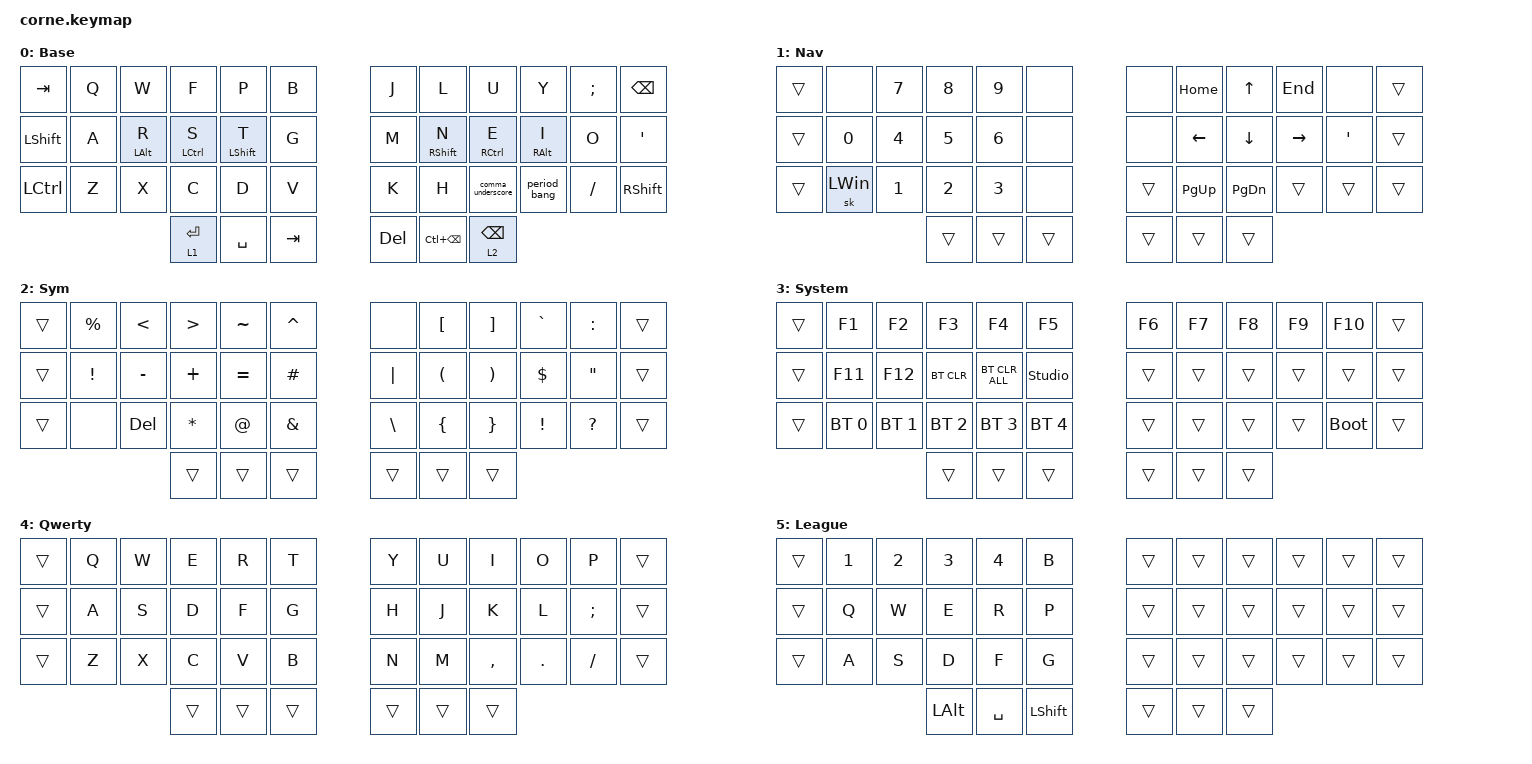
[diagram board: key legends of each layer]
#include <behaviors.dtsi>
#include <dt-bindings/zmk/bt.h>
#include <dt-bindings/zmk/keys.h>

#define DEF 0
#define NAV 1
#define SYM 2
#define ADJ 3

//testing mouse movement and scroll binds...

&lt {
    tapping-term-ms = <150>;
    flavor = "balanced";
};

&mt {
    tapping-term-ms = <150>;
    flavor = "balanced";
};

/ {
    behaviors {
        hm: homerow_mods {
            compatible = "zmk,behavior-hold-tap";
            label = "HOMEROW_MODS";
            #binding-cells = <2>;
            tapping-term-ms = <150>;
            flavor = "balanced";
            bindings = <&kp>, <&kp>;
        };

        para: para {
            compatible = "zmk,behavior-tap-dance";
            label = "PARA";
            #binding-cells = <0>;
            bindings = <&kp LEFT_PARENTHESIS>, <&kp RIGHT_PARENTHESIS>;
        };

        caps: caps {
            compatible = "zmk,behavior-caps-word";
            label = "CAPS";
            #binding-cells = <0>;
            continue-list = <MINUS BACKSPACE>;
        };

        paraless: paraless {
            compatible = "zmk,behavior-mod-morph";
            label = "PARALESS";
            bindings = <&kp LEFT_PARENTHESIS>, <&kp LESS_THAN>;

            #binding-cells = <0>;
            mods = <(MOD_LSFT)>;
        };

        paragreat: paragreat {
            compatible = "zmk,behavior-mod-morph";
            label = "PARAGREAT";
            bindings = <&kp RIGHT_PARENTHESIS>, <&kp GREATER_THAN>;

            #binding-cells = <0>;
            mods = <(MOD_LSFT)>;
        };

        comma_underscore: comma_underscore {
            compatible = "zmk,behavior-mod-morph";
            label = "COMMA_UNDERSCORE";
            bindings = <&kp COMMA>, <&kp UNDER>;

            #binding-cells = <0>;
            mods = <(MOD_LSFT|MOD_RSFT)>;
        };

        period_bang: period_bang {
            compatible = "zmk,behavior-mod-morph";
            label = "PERIOD_BANG";
            bindings = <&kp PERIOD>, <&kp EXCLAMATION>;

            #binding-cells = <0>;
            mods = <(MOD_LSFT|MOD_RSFT)>;
        };
    };

    combos {
        compatible = "zmk,combos";

        capsword {
            bindings = <&caps_word>;
            key-positions = <10 9>;
        };

        prtscr {
            bindings = <&kp PRINTSCREEN>;
            key-positions = <16 38>;
            layers = <0 4>;
        };

        esc {
            bindings = <&kp ESCAPE>;
            key-positions = <1 2>;
            layers = <0 4 5>;
        };

        cut {
            bindings = <&kp LC(X)>;
            key-positions = <25 26>;
            layers = <0 4>;
        };

        copy {
            bindings = <&kp LC(C)>;
            key-positions = <27 26>;
            layers = <0 4>;
        };

        paste {
            bindings = <&kp LC(V)>;
            key-positions = <27 28>;
            layers = <0 4>;
        };

        save {
            bindings = <&kp LC(S)>;
            key-positions = <25 28>;
            layers = <0 4>;
        };

        qwerty_toggle {
            bindings = <&tog 4>;
            key-positions = <38 29 28>;
            layers = <0 4>;
        };

        league_toggle {
            bindings = <&tog 5>;
            key-positions = <40 41>;
            layers = <4 5>;
        };
    };

    //

    keymap {
        compatible = "zmk,keymap";

        DEF {
            display-name = "Base";

            // -----------------------------------------------------------------------------------------
            // |  Q  |  W  |  E  |  R  |  T  |   |  Y  |  U   |  I  |  O  |  P  |
            // |  A  |  S  |  D  |  F  |  G  |   |  H  |  J   |  K  |  L  |  ;  |
            // |  Z  |  X  |  C  |  V  |  B  |   |  N  |  M   |  ,  |  .  |  /  |
            // | GUI | CTRL | SHFT | LWR | SPC |   | ENT | RSE  | BKSP | ALT | ESC |

            bindings = <
&kp TAB    &kp Q  &kp W           &kp F        &kp P        &kp B      &kp J       &kp L              &kp U              &kp Y            &kp SEMICOLON  &kp BACKSPACE
&kp LSHFT  &kp A  &hm LEFT_ALT R  &hm LCTRL S  &hm LSHFT T  &kp G      &kp M       &hm RSHFT N        &hm RCTRL E        &hm RIGHT_ALT I  &kp O          &kp SQT
&kp LCTRL  &kp Z  &kp X           &kp C        &kp D        &kp V      &kp K       &kp H              &comma_underscore  &period_bang     &kp FSLH       &kp RSHFT
                                  &lt 1 ENTER  &kp SPACE    &kp TAB    &kp DELETE  &kp LC(BACKSPACE)  &lt 2 BACKSPACE
            >;
        };

        NAV {
            display-name = "Nav";

            // -----------------------------------------------------------------------------------------
            // |  TAB |  1  |  2  |  3  |  4  |  5  |   |  6  |  7  |  8  |  9  |  0  | BKSP |
            // | BTCLR| BT1 | BT2 | BT3 | BT4 | BT5 |   | LFT | DWN |  UP | RGT |     |      |
            // | SHFT |     |     |     |     |     |   |     |     |     |     |     |      |
            // | GUI | CTRL | SHFT | LWR | SPC |   | ENT | RSE  | BKSP | ALT | ESC |

            bindings = <
&trans  &none         &kp NUMBER_7  &kp NUMBER_8  &kp NUMBER_9  &none     &none   &kp HOME   &kp UP     &kp END    &none     &trans
&trans  &kp NUMBER_0  &kp NUMBER_4  &kp NUMBER_5  &kp NUMBER_6  &none     &none   &kp LEFT   &kp DOWN   &kp RIGHT  &kp APOS  &trans
&trans  &sk LEFT_WIN  &kp NUMBER_1  &kp NUMBER_2  &kp NUMBER_3  &none     &trans  &kp PG_UP  &kp PG_DN  &trans     &trans    &trans
                                    &trans        &trans        &trans    &trans  &trans     &trans
            >;
        };

        SYM {
            display-name = "Sym";

            // -----------------------------------------------------------------------------------------
            // |  TAB |  !  |  @  |  #  |  $  |  %  |   |  ^  |  &  |  *  |  (  |  )  | BKSP |
            // | CTRL |     |     |     |     |     |   |  -  |  =  |  [  |  ]  |  \  |  `   |
            // | SHFT |     |     |     |     |     |   |  _  |  +  |  {  |  }  | "|" |  ~   |
            //                    | GUI |     | SPC |   | ENT |     | ALT |

            bindings = <
&trans  &kp PERCENT  &kp LESS_THAN  &kp GREATER_THAN  &kp TILDE  &kp CARET        &none          &kp LEFT_BRACKET      &kp RIGHT_BRACKET      &kp GRAVE   &kp COLON          &trans
&trans  &kp EXCL     &kp MINUS      &kp PLUS          &kp EQUAL  &kp HASH         &kp PIPE       &kp LEFT_PARENTHESIS  &kp RIGHT_PARENTHESIS  &kp DOLLAR  &kp DOUBLE_QUOTES  &trans
&trans  &none        &kp DELETE     &kp STAR          &kp AT     &kp AMPERSAND    &kp BACKSLASH  &kp LEFT_BRACE        &kp RIGHT_BRACE        &kp EXCL    &kp QUESTION       &trans
                                    &trans            &trans     &trans           &trans         &trans                &trans
            >;
        };

        ADJ {
            display-name = "System";
            bindings = <
&trans  &kp F1        &kp F2        &kp F3        &kp F4          &kp F5            &kp F6  &kp F7  &kp F8  &kp F9  &kp F10      &trans
&trans  &kp F11       &kp F12       &bt BT_CLR    &bt BT_CLR_ALL  &studio_unlock    &trans  &trans  &trans  &trans  &trans       &trans
&trans  &bt BT_SEL 0  &bt BT_SEL 1  &bt BT_SEL 2  &bt BT_SEL 3    &bt BT_SEL 4      &trans  &trans  &trans  &trans  &bootloader  &trans
                                    &trans        &trans          &trans            &trans  &trans  &trans
            >;
        };

        QWY {
            bindings = <
&trans  &kp Q  &kp W  &kp E   &kp R   &kp T     &kp Y   &kp U   &kp I      &kp O    &kp P     &trans
&trans  &kp A  &kp S  &kp D   &kp F   &kp G     &kp H   &kp J   &kp K      &kp L    &kp SEMI  &trans
&trans  &kp Z  &kp X  &kp C   &kp V   &kp B     &kp N   &kp M   &kp COMMA  &kp DOT  &kp FSLH  &trans
                      &trans  &trans  &trans    &trans  &trans  &trans
            >;

            label = "Qwerty";
        };

        LGE {
            bindings = <
&trans  &kp N1  &kp N2  &kp N3    &kp N4     &kp B        &trans  &trans  &trans  &trans  &trans  &trans
&trans  &kp Q   &kp W   &kp E     &kp R      &kp P        &trans  &trans  &trans  &trans  &trans  &trans
&trans  &kp A   &kp S   &kp D     &kp F      &kp G        &trans  &trans  &trans  &trans  &trans  &trans
                        &kp LALT  &kp SPACE  &kp LSHFT    &trans  &trans  &trans
            >;

            label = "League";
        };
    };

    conditional_layers {
        compatible = "zmk,conditional-layers";

        l3 {
            if-layers = <1 2>;
            then-layer = <3>;
        };
    };
};
